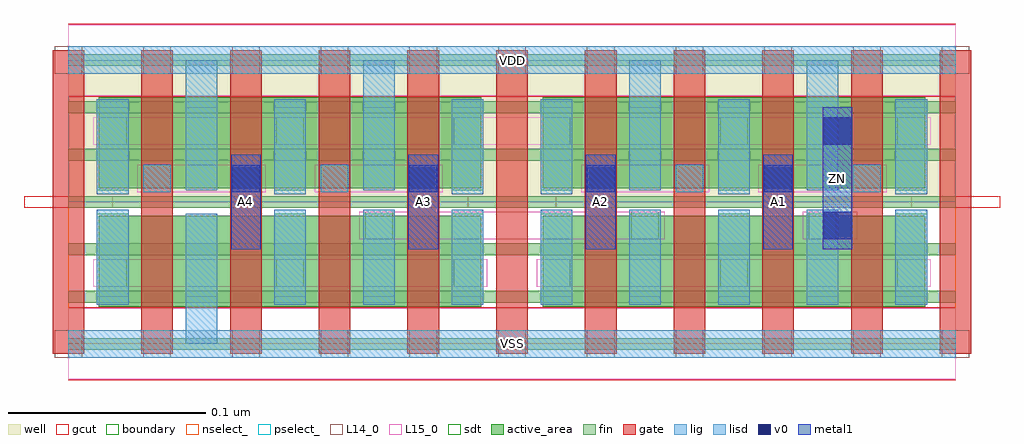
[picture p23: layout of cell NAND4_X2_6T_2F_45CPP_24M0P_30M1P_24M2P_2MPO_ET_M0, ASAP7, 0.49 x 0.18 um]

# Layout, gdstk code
import gdstk
lib = gdstk.Library(unit=1e-6, precision=2.5e-10)
def R(c, l, rs):  # rectangles x0, y0, x1, y1
    for r in rs: c.add(gdstk.rectangle(r[:2], r[2:], *l))
def A(c, l, x, y, w, h, nx, ny, dx, dy):  # array of equal rectangles
    R(c, l, [(x+i*dx, y+j*dy, x+i*dx+w, y+j*dy+h) for i in range(nx) for j in range(ny)])
well = (1, 0)
fin = (2, 0)
gate = (7, 0)
gcut = (10, 0)
active_area = (11, 0)
nselect_ = (12, 0)
pselect_ = (13, 0)
L14_0 = (14, 0)
L15_0 = (15, 0)
lig = (16, 0)
lisd = (17, 0)
v0 = (18, 0)
metal1 = (19, 0)
sdt = (88, 0)
boundary = (100, 0)

nand4_x2_6t_2f_45cpp_24m = lib.new_cell('NAND4_X2_6T_2F_45CPP_24M0P_30M1P_24M2P_2MPO_ET_M0')
R(nand4_x2_6t_2f_45cpp_24m, well, [(0,0.072,0.45,0.144)])
A(nand4_x2_6t_2f_45cpp_24m, fin, 0, -0.003, 0.45, 0.006, 1, 7, 0, 0.024)
A(nand4_x2_6t_2f_45cpp_24m, gate, -0.008, -0.005, 0.016, 0.154, 11, 1, 0.045, 0)
A(nand4_x2_6t_2f_45cpp_24m, gcut, -0.0225, 0.069, 0.045, 0.006, 3, 1, 0.225, 0)
R(nand4_x2_6t_2f_45cpp_24m, gcut, [(0,-0.0185,0.45,0.0185), (0,0.1255,0.45,0.1625)])
R(nand4_x2_6t_2f_45cpp_24m, active_area, [(0.0155,0.019,0.1195,0.065), (0.1055,0.019,0.2095,0.065), (0.2405,0.019,0.3445,0.065), (0.3305,0.019,0.4345,0.065), (0.0155,0.079,0.1195,0.125), (0.1055,0.079,0.2095,0.125), (0.2405,0.079,0.3445,0.125), (0.3305,0.079,0.4345,0.125)])
R(nand4_x2_6t_2f_45cpp_24m, nselect_, [(0,0,0.45,0.072)])
R(nand4_x2_6t_2f_45cpp_24m, pselect_, [(0,0.072,0.45,0.144)])
A(nand4_x2_6t_2f_45cpp_24m, L14_0, -0.007, -0.007, 0.014, 0.014, 11, 2, 0.045, 0.144)
A(nand4_x2_6t_2f_45cpp_24m, L14_0, 0.0155, 0.029, 0.014, 0.014, 3, 2, 0.09, 0.072)
A(nand4_x2_6t_2f_45cpp_24m, L14_0, 0.2405, 0.029, 0.014, 0.014, 3, 2, 0.09, 0.072)
A(nand4_x2_6t_2f_45cpp_24m, L14_0, 0.038, 0.077, 0.014, 0.014, 4, 1, 0.045, 0)
A(nand4_x2_6t_2f_45cpp_24m, L14_0, 0.263, 0.077, 0.014, 0.014, 4, 1, 0.045, 0)
R(nand4_x2_6t_2f_45cpp_24m, L14_0, [(0.1505,0.053,0.1645,0.067), (0.2855,0.053,0.2995,0.067), (0.3755,0.053,0.3895,0.067)])
R(nand4_x2_6t_2f_45cpp_24m, L15_0, [(0,-0.018,0.45,0.018), (0.0125,0.029,0.2125,0.043), (0.2375,0.029,0.4375,0.043), (0.1475,0.053,0.3025,0.067), (0.3725,0.053,0.4,0.067), (0.035,0.077,0.1,0.091), (0.125,0.077,0.19,0.091), (0.26,0.077,0.325,0.091), (0.35,0.077,0.415,0.091), (0.0125,0.101,0.4375,0.115), (0,0.126,0.45,0.162)])
A(nand4_x2_6t_2f_45cpp_24m, lig, 0.038, 0.077, 0.014, 0.014, 4, 1, 0.045, 0)
A(nand4_x2_6t_2f_45cpp_24m, lig, 0.263, 0.077, 0.014, 0.014, 4, 1, 0.045, 0)
R(nand4_x2_6t_2f_45cpp_24m, lig, [(0,-0.007,0.45,0.007), (0,0.137,0.45,0.151)])
A(nand4_x2_6t_2f_45cpp_24m, lisd, 0.1045, 0.02, 0.016, 0.048, 8, 1, 0.045, 0)
A(nand4_x2_6t_2f_45cpp_24m, lisd, 0.0145, 0.076, 0.016, 0.048, 3, 1, 0.09, 0)
A(nand4_x2_6t_2f_45cpp_24m, lisd, 0.2395, 0.076, 0.016, 0.048, 3, 1, 0.09, 0)
R(nand4_x2_6t_2f_45cpp_24m, lisd, [(0.0595,0,0.0755,0.066), (0.0145,0.02,0.0305,0.068), (0.0595,0.078,0.0755,0.144), (0.1495,0.078,0.1655,0.144), (0.2845,0.078,0.3005,0.144), (0.3745,0.078,0.3905,0.144)])
A(nand4_x2_6t_2f_45cpp_24m, v0, 0.083, 0.077, 0.014, 0.014, 4, 1, 0.09, 0)
R(nand4_x2_6t_2f_45cpp_24m, v0, [(0.383,0.053,0.397,0.067), (0.383,0.101,0.397,0.115)])
A(nand4_x2_6t_2f_45cpp_24m, metal1, 0.0825, 0.048, 0.015, 0.048, 4, 1, 0.09, 0)
R(nand4_x2_6t_2f_45cpp_24m, metal1, [(0.3825,0.048,0.3975,0.12)])
A(nand4_x2_6t_2f_45cpp_24m, sdt, 0.0145, 0.024, 0.016, 0.042, 10, 2, 0.045, 0.054)
R(nand4_x2_6t_2f_45cpp_24m, boundary, [(0,0,0.45,0.144)])
nand4_x2_6t_2f_45cpp_24m.add(gdstk.Label('ZN', (0.39,0.084), layer=19, texttype=251))
nand4_x2_6t_2f_45cpp_24m.add(gdstk.Label('A1', (0.36,0.072), layer=19, texttype=251))
nand4_x2_6t_2f_45cpp_24m.add(gdstk.Label('A2', (0.27,0.072), layer=19, texttype=251))
nand4_x2_6t_2f_45cpp_24m.add(gdstk.Label('A3', (0.18,0.072), layer=19, texttype=251))
nand4_x2_6t_2f_45cpp_24m.add(gdstk.Label('A4', (0.09,0.072), layer=19, texttype=251))
nand4_x2_6t_2f_45cpp_24m.add(gdstk.Label('VDD', (0.225,0.144), layer=15, texttype=251))
nand4_x2_6t_2f_45cpp_24m.add(gdstk.Label('VSS', (0.225,0), layer=15, texttype=251))
nand4_x2_6t_2f_45cpp_24m.add(gdstk.Label('VDD', (0.225,0.144), layer=1, texttype=251))
nand4_x2_6t_2f_45cpp_24m.add(gdstk.Label('VSS', (0.225,0), layer=3, texttype=251))

lib.write_gds('NAND4_X2_6T_2F_45CPP_24M0P_30M1P_24M2P_2MPO_ET_M0.gds')
